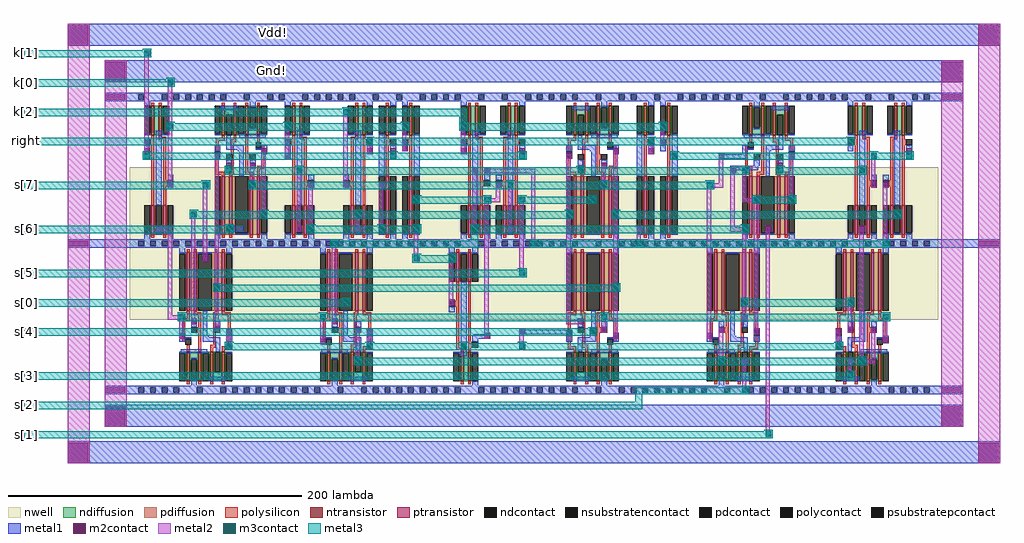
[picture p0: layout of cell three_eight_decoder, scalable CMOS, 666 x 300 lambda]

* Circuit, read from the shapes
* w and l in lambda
.subckt three_eight_decoder Gnd! Vdd! k[0] k[1] k[2] right s[0] s[1] s[2] s[3] s[4] s[5] s[6] s[7]
M1 n1 k[1] Gnd! Gnd! nfet w=20 l=2
M2 OAI22X1_3/A k[0] n1 Gnd! nfet w=20 l=2
M3 Gnd! OAI22X1_3/A n2 Gnd! nfet w=20 l=2
M4 n2 OAI22X1_0/A Gnd! Gnd! nfet w=20 l=2
M5 s[7] OAI22X1_1/A n2 Gnd! nfet w=20 l=2
M6 n2 OAI22X1_3/C s[7] Gnd! nfet w=20 l=2
M7 s[6] OAI22X1_1/A n3 Gnd! nfet w=20 l=2
M8 n3 OAI22X1_2/C s[6] Gnd! nfet w=20 l=2
M9 Gnd! OAI22X1_2/A n3 Gnd! nfet w=20 l=2
M10 n3 OAI22X1_0/A Gnd! Gnd! nfet w=20 l=2
M11 n4 k[0] Gnd! Gnd! nfet w=20 l=2
M12 OAI22X1_2/C NAND2X1_1/B n4 Gnd! nfet w=20 l=2
M13 Gnd! OAI22X1_3/A n5 Gnd! nfet w=20 l=2
M14 n5 OAI22X1_2/B Gnd! Gnd! nfet w=20 l=2
M15 s[0] OAI22X1_6/B n5 Gnd! nfet w=20 l=2
M16 n6 k[2] OAI22X1_0/A Gnd! nfet w=20 l=2
M17 n5 OAI22X1_3/C s[0] Gnd! nfet w=20 l=2
M18 Gnd! right n6 Gnd! nfet w=20 l=2
M19 Gnd! k[1] NAND2X1_1/B Gnd! nfet w=20 l=2
M20 NAND2X1_7/A k[0] Gnd! Gnd! nfet w=20 l=2
M21 n7 NAND2X1_1/B OAI22X1_3/C Gnd! nfet w=20 l=2
M22 Gnd! NAND2X1_7/A n7 Gnd! nfet w=20 l=2
M23 n8 k[2] Gnd! Gnd! nfet w=20 l=2
M24 OAI22X1_2/B NAND2X1_3/B n8 Gnd! nfet w=20 l=2
M25 n9 NAND2X1_7/A OAI22X1_2/A Gnd! nfet w=20 l=2
M26 Gnd! k[1] n9 Gnd! nfet w=20 l=2
M27 s[4] OAI22X1_3/C n10 Gnd! nfet w=20 l=2
M28 s[5] OAI22X1_0/A n11 Gnd! nfet w=20 l=2
M29 n10 OAI22X1_0/A s[4] Gnd! nfet w=20 l=2
M30 n11 OAI22X1_2/C s[5] Gnd! nfet w=20 l=2
M31 Gnd! OAI22X1_3/A n10 Gnd! nfet w=20 l=2
M32 Gnd! OAI22X1_2/A n11 Gnd! nfet w=20 l=2
M33 n10 OAI22X1_1/A Gnd! Gnd! nfet w=20 l=2
M34 n11 OAI22X1_1/A Gnd! Gnd! nfet w=20 l=2
M35 Gnd! right NAND2X1_3/B Gnd! nfet w=20 l=2
M36 NAND2X1_6/A k[2] Gnd! Gnd! nfet w=20 l=2
M37 Gnd! OAI22X1_2/A n12 Gnd! nfet w=20 l=2
M38 n12 OAI22X1_6/B Gnd! Gnd! nfet w=20 l=2
M39 s[2] OAI22X1_2/B n12 Gnd! nfet w=20 l=2
M40 n12 OAI22X1_2/C s[2] Gnd! nfet w=20 l=2
M41 Gnd! OAI22X1_2/A n13 Gnd! nfet w=20 l=2
M42 n13 OAI22X1_2/B Gnd! Gnd! nfet w=20 l=2
M43 s[1] OAI22X1_6/B n13 Gnd! nfet w=20 l=2
M44 n13 OAI22X1_2/C s[1] Gnd! nfet w=20 l=2
M45 s[3] OAI22X1_3/C n14 Gnd! nfet w=20 l=2
M46 n14 OAI22X1_2/B s[3] Gnd! nfet w=20 l=2
M47 n15 right Gnd! Gnd! nfet w=20 l=2
M48 OAI22X1_6/B NAND2X1_6/A n15 Gnd! nfet w=20 l=2
M49 Gnd! OAI22X1_6/B n14 Gnd! nfet w=20 l=2
M50 n14 OAI22X1_3/A Gnd! Gnd! nfet w=20 l=2
M51 n16 NAND2X1_3/B OAI22X1_1/A Gnd! nfet w=20 l=2
M52 Gnd! NAND2X1_6/A n16 Gnd! nfet w=20 l=2
M53 OAI22X1_3/A k[1] Vdd! Vdd! pfet w=20 l=2
M54 Vdd! k[0] OAI22X1_3/A Vdd! pfet w=20 l=2
M55 n17 OAI22X1_3/A Vdd! Vdd! pfet w=40 l=2
M56 s[7] OAI22X1_0/A n17 Vdd! pfet w=40 l=2
M57 n18 OAI22X1_1/A s[7] Vdd! pfet w=40 l=2
M58 Vdd! OAI22X1_3/C n18 Vdd! pfet w=40 l=2
M59 n19 OAI22X1_1/A Vdd! Vdd! pfet w=40 l=2
M60 s[6] OAI22X1_2/C n19 Vdd! pfet w=40 l=2
M61 n20 OAI22X1_2/A s[6] Vdd! pfet w=40 l=2
M62 Vdd! OAI22X1_0/A n20 Vdd! pfet w=40 l=2
M63 OAI22X1_2/C k[0] Vdd! Vdd! pfet w=20 l=2
M64 Vdd! NAND2X1_1/B OAI22X1_2/C Vdd! pfet w=20 l=2
M65 n21 OAI22X1_3/A Vdd! Vdd! pfet w=40 l=2
M66 s[0] OAI22X1_2/B n21 Vdd! pfet w=40 l=2
M67 OAI22X1_0/A k[2] Vdd! Vdd! pfet w=20 l=2
M68 n22 OAI22X1_6/B s[0] Vdd! pfet w=40 l=2
M69 Vdd! OAI22X1_3/C n22 Vdd! pfet w=40 l=2
M70 Vdd! right OAI22X1_0/A Vdd! pfet w=20 l=2
M71 Vdd! k[1] NAND2X1_1/B Vdd! pfet w=40 l=2
M72 NAND2X1_7/A k[0] Vdd! Vdd! pfet w=40 l=2
M73 OAI22X1_3/C NAND2X1_1/B Vdd! Vdd! pfet w=20 l=2
M74 Vdd! NAND2X1_7/A OAI22X1_3/C Vdd! pfet w=20 l=2
M75 OAI22X1_2/B k[2] Vdd! Vdd! pfet w=20 l=2
M76 Vdd! NAND2X1_3/B OAI22X1_2/B Vdd! pfet w=20 l=2
M77 OAI22X1_2/A NAND2X1_7/A Vdd! Vdd! pfet w=20 l=2
M78 Vdd! k[1] OAI22X1_2/A Vdd! pfet w=20 l=2
M79 n23 OAI22X1_3/C Vdd! Vdd! pfet w=40 l=2
M80 n24 OAI22X1_0/A Vdd! Vdd! pfet w=40 l=2
M81 s[4] OAI22X1_0/A n23 Vdd! pfet w=40 l=2
M82 s[5] OAI22X1_2/C n24 Vdd! pfet w=40 l=2
M83 n25 OAI22X1_3/A s[4] Vdd! pfet w=40 l=2
M84 n26 OAI22X1_2/A s[5] Vdd! pfet w=40 l=2
M85 Vdd! OAI22X1_1/A n25 Vdd! pfet w=40 l=2
M86 Vdd! OAI22X1_1/A n26 Vdd! pfet w=40 l=2
M87 Vdd! right NAND2X1_3/B Vdd! pfet w=40 l=2
M88 NAND2X1_6/A k[2] Vdd! Vdd! pfet w=40 l=2
M89 n27 OAI22X1_2/A Vdd! Vdd! pfet w=40 l=2
M90 s[2] OAI22X1_6/B n27 Vdd! pfet w=40 l=2
M91 n28 OAI22X1_2/B s[2] Vdd! pfet w=40 l=2
M92 Vdd! OAI22X1_2/C n28 Vdd! pfet w=40 l=2
M93 n29 OAI22X1_2/A Vdd! Vdd! pfet w=40 l=2
M94 s[1] OAI22X1_2/B n29 Vdd! pfet w=40 l=2
M95 n30 OAI22X1_6/B s[1] Vdd! pfet w=40 l=2
M96 Vdd! OAI22X1_2/C n30 Vdd! pfet w=40 l=2
M97 n31 OAI22X1_3/C Vdd! Vdd! pfet w=40 l=2
M98 s[3] OAI22X1_2/B n31 Vdd! pfet w=40 l=2
M99 OAI22X1_6/B right Vdd! Vdd! pfet w=20 l=2
M100 Vdd! NAND2X1_6/A OAI22X1_6/B Vdd! pfet w=20 l=2
M101 n32 OAI22X1_6/B s[3] Vdd! pfet w=40 l=2
M102 Vdd! OAI22X1_3/A n32 Vdd! pfet w=40 l=2
M103 OAI22X1_1/A NAND2X1_3/B Vdd! Vdd! pfet w=20 l=2
M104 Vdd! NAND2X1_6/A OAI22X1_1/A Vdd! pfet w=20 l=2
.ends

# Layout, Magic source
magic
tech scmos
<< metal1 >>
rect 30 325 666 340
rect 55 300 641 315
rect 55 287 641 293
rect 178 248 182 257
rect 490 251 493 256
rect 474 248 493 251
rect 314 233 318 242
rect 482 240 501 243
rect 138 198 150 202
rect 30 187 666 193
rect 338 128 373 131
rect 307 125 317 128
rect 386 123 390 132
rect 55 87 641 93
rect 55 65 641 80
rect 30 40 666 55
<< metal2 >>
rect 30 40 45 340
rect 55 65 70 315
rect 82 251 85 321
rect 98 228 101 301
rect 90 198 101 201
rect 98 141 101 198
rect 98 138 109 141
rect 106 125 109 138
rect 114 135 117 211
rect 122 178 125 231
rect 130 130 133 251
rect 154 228 157 244
rect 162 208 165 254
rect 178 248 181 271
rect 186 198 189 241
rect 194 198 197 231
rect 218 228 221 281
rect 234 251 237 261
rect 258 253 261 271
rect 298 251 301 271
rect 226 198 229 211
rect 242 198 245 231
rect 138 118 141 131
rect 202 121 205 141
rect 210 135 213 191
rect 266 178 269 201
rect 306 198 309 241
rect 314 238 349 241
rect 322 221 325 231
rect 314 218 325 221
rect 290 148 293 181
rect 226 108 229 132
rect 234 118 237 131
rect 314 125 317 218
rect 330 198 333 231
rect 338 168 341 221
rect 346 188 349 238
rect 370 138 373 251
rect 394 228 397 244
rect 370 135 381 138
rect 338 118 341 131
rect 394 129 397 141
rect 402 125 405 254
rect 426 251 429 261
rect 434 257 437 271
rect 474 231 477 251
rect 466 228 477 231
rect 418 188 421 201
rect 466 125 469 228
rect 482 201 485 241
rect 490 221 493 241
rect 490 218 501 221
rect 522 218 525 251
rect 578 228 581 251
rect 482 198 493 201
rect 490 137 493 198
rect 474 108 477 132
rect 498 128 501 218
rect 490 88 493 111
rect 506 58 509 201
rect 554 118 557 131
rect 562 129 565 151
rect 570 111 573 201
rect 586 188 589 231
rect 578 111 581 132
rect 586 123 589 141
rect 562 98 565 111
rect 570 108 581 111
rect 626 65 641 315
rect 651 40 666 340
<< metal3 >>
rect 0 317 86 322
rect 0 297 102 302
rect 0 277 302 282
rect 297 272 302 277
rect 97 267 262 272
rect 297 267 438 272
rect 0 257 566 262
rect 81 247 342 252
rect 441 247 606 252
rect 137 237 494 242
rect 513 237 574 242
rect 0 227 126 232
rect 153 227 470 232
rect 265 217 318 222
rect 337 217 390 222
rect 497 217 526 222
rect 113 207 374 212
rect 401 207 598 212
rect 0 197 142 202
rect 193 197 270 202
rect 305 197 494 202
rect 305 192 310 197
rect 209 187 310 192
rect 345 187 590 192
rect 265 177 294 182
rect 0 167 342 172
rect 129 157 406 162
rect 0 147 222 152
rect 489 147 566 152
rect 105 137 590 142
rect 0 127 390 132
rect 137 117 558 122
rect 225 107 574 112
rect 0 97 566 102
rect 417 87 494 92
rect 417 82 422 87
rect 0 77 422 82
rect 0 57 510 62
use $$M2_M1_1500_1500_3_3  $$M2_M1_1500_1500_3_3_0
transform 1 0 37 0 1 332
box -7 -7 7 7
use $$M2_M1_1500_1500_3_3  $$M2_M1_1500_1500_3_3_1
transform 1 0 658 0 1 332
box -7 -7 7 7
use $$M3_M2  $$M3_M2_0
transform 1 0 84 0 1 320
box -3 -3 3 3
use $$M2_M1_1500_1500_3_3  $$M2_M1_1500_1500_3_3_2
transform 1 0 62 0 1 307
box -7 -7 7 7
use $$M3_M2  $$M3_M2_1
transform 1 0 100 0 1 300
box -3 -3 3 3
use $$M2_M1_1500_1500_3_3  $$M2_M1_1500_1500_3_3_3
transform 1 0 633 0 1 307
box -7 -7 7 7
use $$M2_M1_1500_1500_3_1  $$M2_M1_1500_1500_3_1_0
transform 1 0 62 0 1 290
box -7 -2 7 2
use $$M3_M2  $$M3_M2_2
transform 1 0 100 0 1 270
box -3 -3 3 3
use $$M2_M1  $$M2_M1_0
transform 1 0 84 0 1 253
box -2 -2 2 2
use $$M3_M2  $$M3_M2_3
transform 1 0 84 0 1 250
box -3 -3 3 3
use $$M2_M1  $$M2_M1_1
transform 1 0 100 0 1 230
box -2 -2 2 2
use $$M2_M1  $$M2_M1_6
transform 1 0 92 0 1 200
box -2 -2 2 2
use $$M2_M1  $$M2_M1_3
transform 1 0 132 0 1 250
box -2 -2 2 2
use $$M3_M2  $$M3_M2_5
transform 1 0 124 0 1 230
box -3 -3 3 3
use $$M3_M2  $$M3_M2_7
transform 1 0 116 0 1 210
box -3 -3 3 3
use $$M2_M1  $$M2_M1_2
transform 1 0 164 0 1 253
box -2 -2 2 2
use $$M2_M1  $$M2_M1_4
transform 1 0 140 0 1 243
box -2 -2 2 2
use $$M2_M1  $$M2_M1_5
transform 1 0 156 0 1 243
box -2 -2 2 2
use $$M3_M2  $$M3_M2_4
transform 1 0 140 0 1 240
box -3 -3 3 3
use $$M3_M2  $$M3_M2_6
transform 1 0 156 0 1 230
box -3 -3 3 3
use $$M3_M2  $$M3_M2_8
transform 1 0 164 0 1 210
box -3 -3 3 3
use $$M2_M1  $$M2_M1_7
transform 1 0 140 0 1 200
box -2 -2 2 2
use $$M3_M2  $$M3_M2_9
transform 1 0 140 0 1 200
box -3 -3 3 3
use $$M3_M2  $$M3_M2_11
transform 1 0 180 0 1 270
box -3 -3 3 3
use $$M2_M1  $$M2_M1_8
transform 1 0 180 0 1 250
box -2 -2 2 2
use $$M3_M2  $$M3_M2_12
transform 1 0 188 0 1 240
box -3 -3 3 3
use $$M2_M1  $$M2_M1_10
transform 1 0 196 0 1 230
box -2 -2 2 2
use $$M2_M1  $$M2_M1_13
transform 1 0 188 0 1 200
box -2 -2 2 2
use $$M3_M2  $$M3_M2_15
transform 1 0 196 0 1 200
box -3 -3 3 3
use $$M3_M2  $$M3_M2_10
transform 1 0 220 0 1 280
box -3 -3 3 3
use $$M2_M1  $$M2_M1_11
transform 1 0 220 0 1 230
box -2 -2 2 2
use $$M3_M2  $$M3_M2_13
transform 1 0 236 0 1 260
box -3 -3 3 3
use $$M2_M1  $$M2_M1_9
transform 1 0 236 0 1 253
box -2 -2 2 2
use $$M2_M1  $$M2_M1_12
transform 1 0 244 0 1 230
box -2 -2 2 2
use $$M3_M2  $$M3_M2_14
transform 1 0 228 0 1 210
box -3 -3 3 3
use $$M2_M1  $$M2_M1_14
transform 1 0 228 0 1 200
box -2 -2 2 2
use $$M3_M2  $$M3_M2_16
transform 1 0 244 0 1 200
box -3 -3 3 3
use $$M3_M2  $$M3_M2_18
transform 1 0 260 0 1 270
box -3 -3 3 3
use $$M2_M1  $$M2_M1_15
transform 1 0 260 0 1 255
box -2 -2 2 2
use $$M2_M1  $$M2_M1_16
transform 1 0 252 0 1 253
box -2 -2 2 2
use $$M3_M2  $$M3_M2_19
transform 1 0 252 0 1 250
box -3 -3 3 3
use $$M2_M1  $$M2_M1_17
transform 1 0 268 0 1 220
box -2 -2 2 2
use $$M3_M2  $$M3_M2_20
transform 1 0 268 0 1 220
box -3 -3 3 3
use $$M3_M2  $$M3_M2_21
transform 1 0 268 0 1 200
box -3 -3 3 3
use $$M3_M2  $$M3_M2_22
transform 1 0 300 0 1 270
box -3 -3 3 3
use $$M2_M1  $$M2_M1_18
transform 1 0 300 0 1 253
box -2 -2 2 2
use $$M2_M1  $$M2_M1_20
transform 1 0 308 0 1 240
box -2 -2 2 2
use $$M2_M1  $$M2_M1_21
transform 1 0 316 0 1 240
box -2 -2 2 2
use $$M2_M1  $$M2_M1_19
transform 1 0 340 0 1 253
box -2 -2 2 2
use $$M3_M2  $$M3_M2_23
transform 1 0 340 0 1 250
box -3 -3 3 3
use $$M2_M1  $$M2_M1_22
transform 1 0 324 0 1 230
box -2 -2 2 2
use $$M3_M2  $$M3_M2_24
transform 1 0 332 0 1 230
box -3 -3 3 3
use $$M3_M2  $$M3_M2_25
transform 1 0 316 0 1 220
box -3 -3 3 3
use $$M3_M2  $$M3_M2_27
transform 1 0 308 0 1 200
box -3 -3 3 3
use $$M3_M2  $$M3_M2_26
transform 1 0 340 0 1 220
box -3 -3 3 3
use $$M2_M1  $$M2_M1_23
transform 1 0 332 0 1 200
box -2 -2 2 2
use $$M2_M1  $$M2_M1_25
transform 1 0 372 0 1 250
box -2 -2 2 2
use $$M2_M1  $$M2_M1_24
transform 1 0 404 0 1 253
box -2 -2 2 2
use $$M2_M1  $$M2_M1_27
transform 1 0 380 0 1 241
box -2 -2 2 2
use $$M2_M1  $$M2_M1_26
transform 1 0 396 0 1 243
box -2 -2 2 2
use $$M3_M2  $$M3_M2_29
transform 1 0 380 0 1 240
box -3 -3 3 3
use $$M3_M2  $$M3_M2_30
transform 1 0 396 0 1 230
box -3 -3 3 3
use $$M2_M1  $$M2_M1_28
transform 1 0 388 0 1 220
box -2 -2 2 2
use $$M3_M2  $$M3_M2_31
transform 1 0 388 0 1 220
box -3 -3 3 3
use $$M3_M2  $$M3_M2_32
transform 1 0 372 0 1 210
box -3 -3 3 3
use $$M3_M2  $$M3_M2_33
transform 1 0 404 0 1 210
box -3 -3 3 3
use $$M2_M1  $$M2_M1_31
transform 1 0 420 0 1 200
box -2 -2 2 2
use $$M3_M2  $$M3_M2_34
transform 1 0 436 0 1 270
box -3 -3 3 3
use $$M3_M2  $$M3_M2_35
transform 1 0 428 0 1 260
box -3 -3 3 3
use $$M2_M1  $$M2_M1_29
transform 1 0 436 0 1 259
box -2 -2 2 2
use $$M2_M1  $$M2_M1_30
transform 1 0 428 0 1 253
box -2 -2 2 2
use $$M2_M1  $$M2_M1_32
transform 1 0 444 0 1 250
box -2 -2 2 2
use $$M3_M2  $$M3_M2_37
transform 1 0 444 0 1 250
box -3 -3 3 3
use $$M2_M1  $$M2_M1_33
transform 1 0 476 0 1 250
box -2 -2 2 2
use $$M3_M2  $$M3_M2_40
transform 1 0 468 0 1 230
box -3 -3 3 3
use $$M2_M1  $$M2_M1_34
transform 1 0 524 0 1 250
box -2 -2 2 2
use $$M2_M1  $$M2_M1_36
transform 1 0 484 0 1 240
box -2 -2 2 2
use $$M3_M2  $$M3_M2_38
transform 1 0 492 0 1 240
box -3 -3 3 3
use $$M2_M1  $$M2_M1_35
transform 1 0 516 0 1 243
box -2 -2 2 2
use $$M3_M2  $$M3_M2_39
transform 1 0 516 0 1 240
box -3 -3 3 3
use $$M3_M2  $$M3_M2_41
transform 1 0 500 0 1 220
box -3 -3 3 3
use $$M3_M2  $$M3_M2_42
transform 1 0 524 0 1 220
box -3 -3 3 3
use $$M3_M2  $$M3_M2_43
transform 1 0 492 0 1 200
box -3 -3 3 3
use $$M2_M1  $$M2_M1_37
transform 1 0 508 0 1 200
box -2 -2 2 2
use $$M2_M1  $$M2_M1_38
transform 1 0 564 0 1 259
box -2 -2 2 2
use $$M3_M2  $$M3_M2_44
transform 1 0 564 0 1 260
box -3 -3 3 3
use $$M3_M2  $$M3_M2_45
transform 1 0 580 0 1 250
box -3 -3 3 3
use $$M2_M1  $$M2_M1_40
transform 1 0 572 0 1 240
box -2 -2 2 2
use $$M3_M2  $$M3_M2_47
transform 1 0 572 0 1 240
box -3 -3 3 3
use $$M2_M1  $$M2_M1_41
transform 1 0 580 0 1 230
box -2 -2 2 2
use $$M2_M1  $$M2_M1_42
transform 1 0 588 0 1 230
box -2 -2 2 2
use $$M2_M1  $$M2_M1_43
transform 1 0 572 0 1 200
box -2 -2 2 2
use $$M2_M1  $$M2_M1_39
transform 1 0 604 0 1 253
box -2 -2 2 2
use $$M3_M2  $$M3_M2_46
transform 1 0 604 0 1 250
box -3 -3 3 3
use $$M2_M1  $$M2_M1_44
transform 1 0 596 0 1 210
box -2 -2 2 2
use $$M3_M2  $$M3_M2_48
transform 1 0 596 0 1 210
box -3 -3 3 3
use $$M2_M1_1500_1500_3_1  $$M2_M1_1500_1500_3_1_2
transform 1 0 633 0 1 290
box -7 -2 7 2
use $$M2_M1_1500_1500_3_1  $$M2_M1_1500_1500_3_1_1
transform 1 0 37 0 1 190
box -7 -2 7 2
use NAND2X1  NAND2X1_0
transform 1 0 80 0 -1 290
box -8 -3 32 105
use FILL  FILL_0
transform 1 0 104 0 -1 290
box -8 -3 16 105
use FILL  FILL_1
transform 1 0 112 0 -1 290
box -8 -3 16 105
use FILL  FILL_2
transform 1 0 120 0 -1 290
box -8 -3 16 105
use OAI22X1  OAI22X1_0
transform -1 0 168 0 -1 290
box -8 -3 46 105
use FILL  FILL_3
transform 1 0 168 0 -1 290
box -8 -3 16 105
use NAND2X1  NAND2X1_1
transform 1 0 176 0 -1 290
box -8 -3 32 105
use $$M3_M2  $$M3_M2_17
transform 1 0 212 0 1 190
box -3 -3 3 3
use FILL  FILL_4
transform 1 0 200 0 -1 290
box -8 -3 16 105
use FILL  FILL_5
transform 1 0 208 0 -1 290
box -8 -3 16 105
use NAND2X1  NAND2X1_2
transform -1 0 240 0 -1 290
box -8 -3 32 105
use INVX2  INVX2_0
transform -1 0 256 0 -1 290
box -9 -3 26 105
use INVX2  INVX2_1
transform 1 0 256 0 -1 290
box -9 -3 26 105
use FILL  FILL_6
transform 1 0 272 0 -1 290
box -8 -3 16 105
use FILL  FILL_7
transform 1 0 280 0 -1 290
box -8 -3 16 105
use FILL  FILL_8
transform 1 0 288 0 -1 290
box -8 -3 16 105
use NAND2X1  NAND2X1_3
transform 1 0 296 0 -1 290
box -8 -3 32 105
use $$M3_M2  $$M3_M2_28
transform 1 0 348 0 1 190
box -3 -3 3 3
use NAND2X1  NAND2X1_4
transform -1 0 344 0 -1 290
box -8 -3 32 105
use FILL  FILL_9
transform 1 0 344 0 -1 290
box -8 -3 16 105
use FILL  FILL_10
transform 1 0 352 0 -1 290
box -8 -3 16 105
use FILL  FILL_11
transform 1 0 360 0 -1 290
box -8 -3 16 105
use OAI22X1  OAI22X1_1
transform -1 0 408 0 -1 290
box -8 -3 46 105
use $$M3_M2  $$M3_M2_36
transform 1 0 420 0 1 190
box -3 -3 3 3
use FILL  FILL_12
transform 1 0 408 0 -1 290
box -8 -3 16 105
use INVX2  INVX2_2
transform -1 0 432 0 -1 290
box -9 -3 26 105
use INVX2  INVX2_3
transform 1 0 432 0 -1 290
box -9 -3 26 105
use FILL  FILL_13
transform 1 0 448 0 -1 290
box -8 -3 16 105
use FILL  FILL_14
transform 1 0 456 0 -1 290
box -8 -3 16 105
use FILL  FILL_15
transform 1 0 464 0 -1 290
box -8 -3 16 105
use FILL  FILL_16
transform 1 0 472 0 -1 290
box -8 -3 16 105
use FILL  FILL_17
transform 1 0 480 0 -1 290
box -8 -3 16 105
use OAI22X1  OAI22X1_2
transform 1 0 488 0 -1 290
box -8 -3 46 105
use FILL  FILL_18
transform 1 0 528 0 -1 290
box -8 -3 16 105
use FILL  FILL_19
transform 1 0 536 0 -1 290
box -8 -3 16 105
use FILL  FILL_20
transform 1 0 544 0 -1 290
box -8 -3 16 105
use FILL  FILL_21
transform 1 0 552 0 -1 290
box -8 -3 16 105
use $$M3_M2  $$M3_M2_49
transform 1 0 588 0 1 190
box -3 -3 3 3
use NAND2X1  NAND2X1_5
transform 1 0 560 0 -1 290
box -8 -3 32 105
use NAND2X1  NAND2X1_6
transform -1 0 608 0 -1 290
box -8 -3 32 105
use FILL  FILL_22
transform 1 0 608 0 -1 290
box -8 -3 16 105
use $$M2_M1_1500_1500_3_1  $$M2_M1_1500_1500_3_1_3
transform 1 0 658 0 1 190
box -7 -2 7 2
use $$M2_M1_1500_1500_3_1  $$M2_M1_1500_1500_3_1_4
transform 1 0 62 0 1 90
box -7 -2 7 2
use FILL  FILL_23
transform -1 0 88 0 1 90
box -8 -3 16 105
use FILL  FILL_24
transform -1 0 96 0 1 90
box -8 -3 16 105
use $$M2_M1  $$M2_M1_45
transform 1 0 124 0 1 180
box -2 -2 2 2
use $$M3_M2  $$M3_M2_50
transform 1 0 132 0 1 160
box -3 -3 3 3
use $$M3_M2  $$M3_M2_51
transform 1 0 108 0 1 140
box -3 -3 3 3
use $$M2_M1  $$M2_M1_46
transform 1 0 116 0 1 137
box -2 -2 2 2
use $$M2_M1  $$M2_M1_47
transform 1 0 132 0 1 132
box -2 -2 2 2
use $$M2_M1  $$M2_M1_49
transform 1 0 108 0 1 127
box -2 -2 2 2
use FILL  FILL_25
transform -1 0 104 0 1 90
box -8 -3 16 105
use $$M2_M1  $$M2_M1_48
transform 1 0 140 0 1 130
box -2 -2 2 2
use $$M3_M2  $$M3_M2_52
transform 1 0 140 0 1 120
box -3 -3 3 3
use OAI22X1  OAI22X1_3
transform 1 0 104 0 1 90
box -8 -3 46 105
use FILL  FILL_26
transform -1 0 152 0 1 90
box -8 -3 16 105
use FILL  FILL_27
transform -1 0 160 0 1 90
box -8 -3 16 105
use FILL  FILL_28
transform -1 0 168 0 1 90
box -8 -3 16 105
use FILL  FILL_29
transform -1 0 176 0 1 90
box -8 -3 16 105
use FILL  FILL_30
transform -1 0 184 0 1 90
box -8 -3 16 105
use FILL  FILL_31
transform -1 0 192 0 1 90
box -8 -3 16 105
use $$M2_M1  $$M2_M1_50
transform 1 0 220 0 1 150
box -2 -2 2 2
use $$M3_M2  $$M3_M2_55
transform 1 0 220 0 1 150
box -3 -3 3 3
use $$M3_M2  $$M3_M2_56
transform 1 0 204 0 1 140
box -3 -3 3 3
use $$M2_M1  $$M2_M1_51
transform 1 0 212 0 1 137
box -2 -2 2 2
use $$M2_M1  $$M2_M1_52
transform 1 0 228 0 1 131
box -2 -2 2 2
use $$M2_M1  $$M2_M1_54
transform 1 0 204 0 1 123
box -2 -2 2 2
use FILL  FILL_32
transform -1 0 200 0 1 90
box -8 -3 16 105
use $$M2_M1  $$M2_M1_53
transform 1 0 236 0 1 130
box -2 -2 2 2
use $$M3_M2  $$M3_M2_57
transform 1 0 236 0 1 120
box -3 -3 3 3
use $$M3_M2  $$M3_M2_58
transform 1 0 228 0 1 110
box -3 -3 3 3
use OAI22X1  OAI22X1_4
transform 1 0 200 0 1 90
box -8 -3 46 105
use FILL  FILL_33
transform -1 0 248 0 1 90
box -8 -3 16 105
use FILL  FILL_34
transform -1 0 256 0 1 90
box -8 -3 16 105
use $$M3_M2  $$M3_M2_53
transform 1 0 268 0 1 180
box -3 -3 3 3
use FILL  FILL_35
transform -1 0 264 0 1 90
box -8 -3 16 105
use FILL  FILL_36
transform -1 0 272 0 1 90
box -8 -3 16 105
use FILL  FILL_37
transform -1 0 280 0 1 90
box -8 -3 16 105
use $$M3_M2  $$M3_M2_54
transform 1 0 292 0 1 180
box -3 -3 3 3
use $$M2_M1  $$M2_M1_55
transform 1 0 292 0 1 150
box -2 -2 2 2
use FILL  FILL_38
transform -1 0 288 0 1 90
box -8 -3 16 105
use $$M2_M1  $$M2_M1_62
transform 1 0 300 0 1 120
box -2 -2 2 2
use $$M3_M2  $$M3_M2_63
transform 1 0 300 0 1 120
box -3 -3 3 3
use $$M2_M1  $$M2_M1_60
transform 1 0 316 0 1 127
box -2 -2 2 2
use NAND2X1  NAND2X1_7
transform -1 0 312 0 1 90
box -8 -3 32 105
use FILL  FILL_39
transform -1 0 320 0 1 90
box -8 -3 16 105
use FILL  FILL_40
transform -1 0 328 0 1 90
box -8 -3 16 105
use $$M3_M2  $$M3_M2_59
transform 1 0 340 0 1 170
box -3 -3 3 3
use $$M2_M1  $$M2_M1_58
transform 1 0 340 0 1 130
box -2 -2 2 2
use $$M3_M2  $$M3_M2_64
transform 1 0 340 0 1 120
box -3 -3 3 3
use FILL  FILL_41
transform -1 0 336 0 1 90
box -8 -3 16 105
use FILL  FILL_42
transform -1 0 344 0 1 90
box -8 -3 16 105
use FILL  FILL_43
transform -1 0 352 0 1 90
box -8 -3 16 105
use FILL  FILL_44
transform -1 0 360 0 1 90
box -8 -3 16 105
use FILL  FILL_45
transform -1 0 368 0 1 90
box -8 -3 16 105
use $$M3_M2  $$M3_M2_60
transform 1 0 404 0 1 160
box -3 -3 3 3
use $$M2_M1  $$M2_M1_56
transform 1 0 380 0 1 137
box -2 -2 2 2
use $$M3_M2  $$M3_M2_61
transform 1 0 396 0 1 140
box -3 -3 3 3
use $$M2_M1  $$M2_M1_59
transform 1 0 388 0 1 130
box -2 -2 2 2
use $$M2_M1  $$M2_M1_57
transform 1 0 396 0 1 131
box -2 -2 2 2
use $$M3_M2  $$M3_M2_62
transform 1 0 388 0 1 130
box -3 -3 3 3
use $$M2_M1  $$M2_M1_61
transform 1 0 404 0 1 127
box -2 -2 2 2
use OAI22X1  OAI22X1_5
transform -1 0 408 0 1 90
box -8 -3 46 105
use FILL  FILL_46
transform -1 0 416 0 1 90
box -8 -3 16 105
use FILL  FILL_47
transform -1 0 424 0 1 90
box -8 -3 16 105
use FILL  FILL_48
transform -1 0 432 0 1 90
box -8 -3 16 105
use FILL  FILL_49
transform -1 0 440 0 1 90
box -8 -3 16 105
use FILL  FILL_50
transform -1 0 448 0 1 90
box -8 -3 16 105
use FILL  FILL_51
transform -1 0 456 0 1 90
box -8 -3 16 105
use $$M3_M2  $$M3_M2_65
transform 1 0 492 0 1 150
box -3 -3 3 3
use $$M2_M1  $$M2_M1_63
transform 1 0 492 0 1 139
box -2 -2 2 2
use $$M2_M1  $$M2_M1_64
transform 1 0 476 0 1 131
box -2 -2 2 2
use $$M2_M1  $$M2_M1_66
transform 1 0 468 0 1 127
box -2 -2 2 2
use FILL  FILL_52
transform -1 0 464 0 1 90
box -8 -3 16 105
use $$M2_M1  $$M2_M1_65
transform 1 0 500 0 1 130
box -2 -2 2 2
use $$M3_M2  $$M3_M2_66
transform 1 0 476 0 1 110
box -3 -3 3 3
use $$M2_M1  $$M2_M1_67
transform 1 0 492 0 1 110
box -2 -2 2 2
use $$M3_M2  $$M3_M2_72
transform 1 0 492 0 1 90
box -3 -3 3 3
use OAI22X1  OAI22X1_6
transform 1 0 464 0 1 90
box -8 -3 46 105
use FILL  FILL_53
transform -1 0 512 0 1 90
box -8 -3 16 105
use FILL  FILL_54
transform -1 0 520 0 1 90
box -8 -3 16 105
use FILL  FILL_55
transform -1 0 528 0 1 90
box -8 -3 16 105
use FILL  FILL_56
transform -1 0 536 0 1 90
box -8 -3 16 105
use FILL  FILL_57
transform -1 0 544 0 1 90
box -8 -3 16 105
use $$M3_M2  $$M3_M2_67
transform 1 0 564 0 1 150
box -3 -3 3 3
use $$M3_M2  $$M3_M2_68
transform 1 0 588 0 1 140
box -3 -3 3 3
use $$M2_M1  $$M2_M1_70
transform 1 0 556 0 1 130
box -2 -2 2 2
use $$M2_M1  $$M2_M1_68
transform 1 0 564 0 1 131
box -2 -2 2 2
use $$M2_M1  $$M2_M1_69
transform 1 0 580 0 1 131
box -2 -2 2 2
use $$M3_M2  $$M3_M2_69
transform 1 0 556 0 1 120
box -3 -3 3 3
use FILL  FILL_58
transform -1 0 552 0 1 90
box -8 -3 16 105
use $$M2_M1  $$M2_M1_71
transform 1 0 588 0 1 124
box -2 -2 2 2
use $$M2_M1  $$M2_M1_72
transform 1 0 564 0 1 110
box -2 -2 2 2
use $$M3_M2  $$M3_M2_70
transform 1 0 572 0 1 110
box -3 -3 3 3
use $$M3_M2  $$M3_M2_71
transform 1 0 564 0 1 100
box -3 -3 3 3
use OAI22X1  OAI22X1_7
transform -1 0 592 0 1 90
box -8 -3 46 105
use FILL  FILL_59
transform -1 0 600 0 1 90
box -8 -3 16 105
use FILL  FILL_60
transform -1 0 608 0 1 90
box -8 -3 16 105
use FILL  FILL_61
transform -1 0 616 0 1 90
box -8 -3 16 105
use $$M2_M1_1500_1500_3_1  $$M2_M1_1500_1500_3_1_5
transform 1 0 633 0 1 90
box -7 -2 7 2
use $$M2_M1_1500_1500_3_3  $$M2_M1_1500_1500_3_3_4
transform 1 0 62 0 1 72
box -7 -7 7 7
use $$M2_M1_1500_1500_3_3  $$M2_M1_1500_1500_3_3_5
transform 1 0 633 0 1 72
box -7 -7 7 7
use $$M3_M2  $$M3_M2_73
transform 1 0 508 0 1 60
box -3 -3 3 3
use $$M2_M1_1500_1500_3_3  $$M2_M1_1500_1500_3_3_6
transform 1 0 37 0 1 47
box -7 -7 7 7
use $$M2_M1_1500_1500_3_3  $$M2_M1_1500_1500_3_3_7
transform 1 0 658 0 1 47
box -7 -7 7 7
<< labels >>
flabel metal3 2 260 2 260 4 FreeSans 26 0 0 0 right
flabel metal3 2 280 2 280 4 FreeSans 26 0 0 0 k[2]
flabel metal3 2 320 2 320 4 FreeSans 26 0 0 0 k[1]
flabel metal3 2 300 2 300 4 FreeSans 26 0 0 0 k[0]
flabel metal3 2 150 2 150 4 FreeSans 26 0 0 0 s[0]
flabel metal3 2 80 2 80 4 FreeSans 26 0 0 0 s[2]
flabel metal3 2 100 2 100 4 FreeSans 26 0 0 0 s[3]
flabel metal3 2 60 2 60 4 FreeSans 26 0 0 0 s[1]
flabel metal3 2 230 2 230 4 FreeSans 26 0 0 0 s[7]
flabel metal3 2 130 2 130 4 FreeSans 26 0 0 0 s[4]
flabel metal3 2 170 2 170 4 FreeSans 26 0 0 0 s[5]
flabel metal3 2 200 2 200 4 FreeSans 26 0 0 0 s[6]
rlabel metal1 170 334 170 334 1 Vdd!
rlabel metal1 169 308 169 308 1 Gnd!
<< end >>

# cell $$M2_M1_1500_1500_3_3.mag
magic
tech scmos
<< m2contact >>
rect -7 -7 7 7
<< end >>

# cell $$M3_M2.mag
magic
tech scmos
<< m3contact >>
rect -2 -2 2 2
<< metal3 >>
rect -3 2 3 3
rect -3 -2 -2 2
rect 2 -2 3 2
rect -3 -3 3 -2
<< end >>

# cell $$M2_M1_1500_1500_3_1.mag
magic
tech scmos
<< m2contact >>
rect -7 -2 7 2
<< end >>

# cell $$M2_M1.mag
magic
tech scmos
<< m2contact >>
rect -2 -2 2 2
<< end >>

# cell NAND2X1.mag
magic
tech scmos
<< nwell >>
rect -8 48 32 105
<< ntransistor >>
rect 7 6 9 26
rect 12 6 14 26
<< ptransistor >>
rect 7 74 9 94
rect 15 74 17 94
<< ndiffusion >>
rect 2 25 7 26
rect 6 6 7 25
rect 9 6 12 26
rect 14 25 19 26
rect 14 6 15 25
<< pdiffusion >>
rect 2 93 7 94
rect 6 74 7 93
rect 9 93 15 94
rect 9 74 10 93
rect 14 74 15 93
rect 17 93 22 94
rect 17 74 18 93
<< ndcontact >>
rect 2 6 6 25
rect 15 6 19 25
<< pdcontact >>
rect 2 74 6 93
rect 10 74 14 93
rect 18 74 22 93
<< psubstratepcontact >>
rect -2 -2 2 2
rect 14 -2 18 2
<< nsubstratencontact >>
rect -2 98 2 102
rect 14 98 18 102
<< polysilicon >>
rect 7 94 9 96
rect 15 94 17 96
rect 7 33 9 74
rect 6 29 9 33
rect 15 61 17 74
rect 15 57 18 61
rect 15 29 17 57
rect 7 26 9 29
rect 12 27 17 29
rect 12 26 14 27
rect 7 4 9 6
rect 12 4 14 6
<< polycontact >>
rect 2 29 6 33
rect 18 57 22 61
<< metal1 >>
rect -2 102 26 103
rect 2 98 14 102
rect 18 98 26 102
rect -2 97 26 98
rect 2 93 6 97
rect 10 93 14 94
rect 18 93 22 97
rect 2 33 6 37
rect 10 26 14 74
rect 18 53 22 57
rect 2 25 6 26
rect 10 25 19 26
rect 10 23 15 25
rect 2 3 6 6
rect -2 2 26 3
rect 2 -2 14 2
rect 18 -2 26 2
rect -2 -3 26 -2
<< labels >>
flabel metal1 4 100 4 100 4 FreeSans 26 0 0 0 vdd
flabel metal1 12 45 12 45 4 FreeSans 26 0 0 0 Y
flabel metal1 4 0 4 0 4 FreeSans 26 0 0 0 gnd
flabel metal1 4 35 4 35 4 FreeSans 26 0 0 0 A
flabel metal1 20 55 20 55 4 FreeSans 26 0 0 0 B
<< end >>

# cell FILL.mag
magic
tech scmos
<< nwell >>
rect -8 48 16 105
<< psubstratepcontact >>
rect -2 -2 2 2
rect 6 -2 10 2
<< nsubstratencontact >>
rect -2 98 2 102
rect 6 98 10 102
<< metal1 >>
rect -2 102 10 103
rect 2 98 6 102
rect -2 97 10 98
rect -2 2 10 3
rect 2 -2 6 2
rect -2 -3 10 -2
<< labels >>
flabel metal1 4 100 4 100 4 FreeSans 26 0 0 0 vdd
flabel metal1 4 0 4 0 4 FreeSans 26 0 0 0 gnd
<< end >>

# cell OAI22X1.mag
magic
tech scmos
<< nwell >>
rect -8 48 46 105
<< ntransistor >>
rect 7 6 9 26
rect 15 6 17 26
rect 23 6 25 26
rect 31 6 33 26
<< ptransistor >>
rect 7 54 9 94
rect 12 54 14 94
rect 26 54 28 94
rect 31 54 33 94
<< ndiffusion >>
rect 2 25 7 26
rect 6 6 7 25
rect 9 21 15 26
rect 9 7 10 21
rect 14 7 15 21
rect 9 6 15 7
rect 17 25 23 26
rect 17 6 18 25
rect 22 6 23 25
rect 25 12 26 26
rect 30 12 31 26
rect 25 6 31 12
rect 33 25 38 26
rect 33 6 34 25
<< pdiffusion >>
rect 2 93 7 94
rect 6 54 7 93
rect 9 54 12 94
rect 14 93 26 94
rect 14 54 15 93
rect 24 54 26 93
rect 28 54 31 94
rect 33 93 38 94
rect 33 54 34 93
<< ndcontact >>
rect 2 6 6 25
rect 10 7 14 21
rect 18 6 22 25
rect 26 12 30 26
rect 34 6 38 25
<< pdcontact >>
rect 2 54 6 93
rect 15 54 24 93
rect 34 54 38 93
<< psubstratepcontact >>
rect -2 -2 2 2
rect 14 -2 18 2
rect 30 -2 34 2
<< nsubstratencontact >>
rect -2 98 2 102
rect 14 98 18 102
rect 30 98 34 102
<< polysilicon >>
rect 7 94 9 96
rect 12 94 14 96
rect 26 94 28 96
rect 31 94 33 96
rect 7 49 9 54
rect 12 53 14 54
rect 26 53 28 54
rect 12 51 17 53
rect 4 47 9 49
rect 4 33 6 47
rect 15 43 17 51
rect 14 39 17 43
rect 7 26 9 31
rect 15 26 17 39
rect 25 51 28 53
rect 31 53 33 54
rect 31 51 37 53
rect 25 43 27 51
rect 25 39 26 43
rect 35 41 37 51
rect 25 31 27 39
rect 23 29 27 31
rect 35 30 37 37
rect 23 26 25 29
rect 31 28 37 30
rect 31 26 33 28
rect 7 4 9 6
rect 15 4 17 6
rect 23 4 25 6
rect 31 4 33 6
<< polycontact >>
rect 10 39 14 43
rect 6 31 10 35
rect 26 39 30 43
rect 34 37 38 41
<< metal1 >>
rect -2 102 42 103
rect 2 98 14 102
rect 18 98 30 102
rect 34 98 42 102
rect -2 97 42 98
rect 2 93 6 97
rect 15 93 24 94
rect 34 93 38 97
rect 10 43 14 47
rect 18 37 21 54
rect 26 43 30 47
rect 2 36 6 37
rect 18 36 22 37
rect 2 35 10 36
rect 2 33 6 35
rect 18 33 30 36
rect 34 33 38 37
rect 3 26 21 28
rect 27 26 30 33
rect 2 25 22 26
rect 10 21 14 22
rect 10 3 14 7
rect 34 25 38 26
rect 22 6 34 9
rect -2 2 42 3
rect 2 -2 14 2
rect 18 -2 30 2
rect 34 -2 42 2
rect -2 -3 42 -2
<< labels >>
flabel metal1 4 0 4 0 4 FreeSans 26 0 0 0 gnd
flabel metal1 4 100 4 100 4 FreeSans 26 0 0 0 vdd
flabel metal1 28 45 28 45 4 FreeSans 26 0 0 0 D
flabel metal1 36 35 36 35 4 FreeSans 26 0 0 0 C
flabel metal1 4 35 4 35 4 FreeSans 26 0 0 0 A
flabel metal1 12 45 12 45 4 FreeSans 26 0 0 0 B
flabel metal1 20 35 20 35 4 FreeSans 26 0 0 0 Y
<< end >>

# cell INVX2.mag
magic
tech scmos
<< nwell >>
rect -9 48 26 105
<< ntransistor >>
rect 7 6 9 26
<< ptransistor >>
rect 7 54 9 94
<< ndiffusion >>
rect 2 25 7 26
rect 6 6 7 25
rect 9 25 14 26
rect 9 6 10 25
<< pdiffusion >>
rect 2 93 7 94
rect 6 54 7 93
rect 9 93 14 94
rect 9 54 10 93
<< ndcontact >>
rect 2 6 6 25
rect 10 6 14 25
<< pdcontact >>
rect 2 54 6 93
rect 10 54 14 93
<< psubstratepcontact >>
rect -2 -2 2 2
<< nsubstratencontact >>
rect -2 98 2 102
<< polysilicon >>
rect 7 94 9 96
rect 7 33 9 54
rect 6 29 9 33
rect 7 26 9 29
rect 7 4 9 6
<< polycontact >>
rect 2 29 6 33
<< metal1 >>
rect -2 102 18 103
rect 2 98 18 102
rect -2 97 18 98
rect 2 93 6 97
rect 10 93 14 94
rect 2 33 6 37
rect 2 25 6 26
rect 10 25 14 54
rect 2 3 6 6
rect -2 2 18 3
rect 2 -2 18 2
rect -2 -3 18 -2
<< labels >>
flabel metal1 4 100 4 100 4 FreeSans 26 0 0 0 vdd
flabel metal1 4 0 4 0 4 FreeSans 26 0 0 0 gnd
flabel metal1 12 45 12 45 4 FreeSans 26 0 0 0 Y
flabel metal1 4 35 4 35 4 FreeSans 26 0 0 0 A
<< end >>
